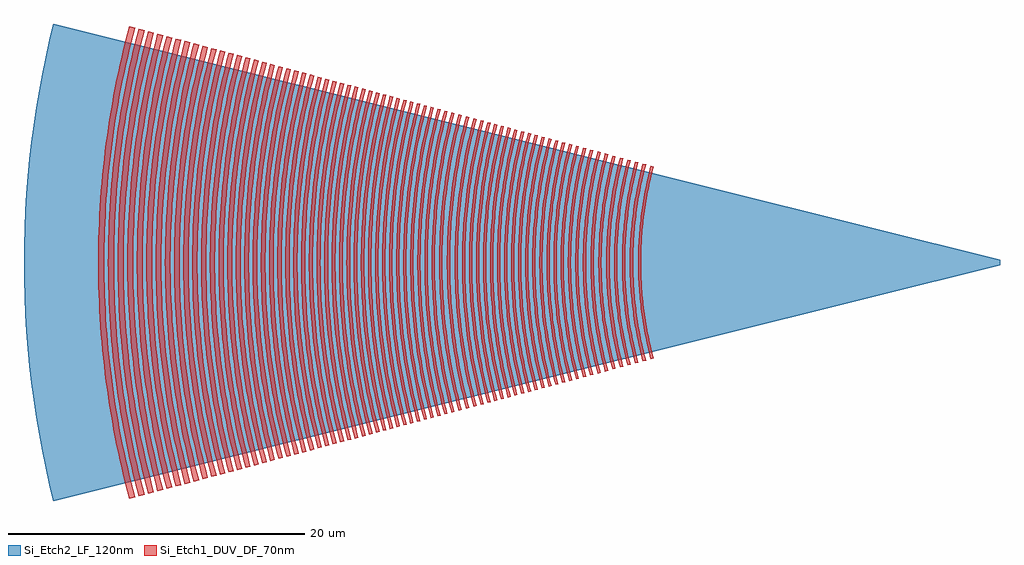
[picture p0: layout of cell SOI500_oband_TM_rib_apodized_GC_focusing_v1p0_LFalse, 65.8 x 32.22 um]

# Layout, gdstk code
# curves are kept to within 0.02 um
import gdstk
lib = gdstk.Library(unit=1e-6, precision=1e-09)
def P(c, l, *ps):  # polygons
    for p in ps: c.add(gdstk.Polygon(p, *l))
Si_Etch2_LF_120nm = (3, 0)
Si_Etch1_DUV_DF_70nm = (6, 0)

soi500_oband_tm_rib_apod = lib.new_cell('SOI500_oband_TM_rib_apodized_GC_focusing_v1p0_LFalse')
P(soi500_oband_tm_rib_apod, Si_Etch2_LF_120nm, [(-63.821,-16.112),(-64.344,-13.847),(-64.787,-11.565),(-64.979,-10.419),(-65.303,-8.117),(-65.546,-5.805),(-65.708,-3.486),(-65.789,-1.162),(-65.799,0),(-65.789,1.162),(-65.708,3.486),(-65.546,5.805),(-65.303,8.117),(-64.979,10.419),(-64.787,11.565),(-64.344,13.847),(-63.821,16.112),(0,0.2),(0,-0.2)])
P(soi500_oband_tm_rib_apod, Si_Etch1_DUV_DF_70nm, [(-23.539,-6.522),(-23.935,-4.808),(-24.211,-3.071),(-24.351,-1.538),(-24.398,0),(-24.351,1.538),(-24.211,3.071),(-23.935,4.808),(-23.539,6.522),(-23.346,6.47),(-23.739,4.77),(-23.984,3.263),(-24.137,1.744),(-24.198,0),(-24.137,-1.744),(-23.984,-3.263),(-23.739,-4.77),(-23.346,-6.47)],
  [(-24.083,-6.667),(-24.488,-4.916),(-24.741,-3.362),(-24.913,-1.573),(-24.961,0),(-24.913,1.573),(-24.741,3.362),(-24.488,4.916),(-24.083,6.667),(-23.859,6.608),(-24.26,4.872),(-24.511,3.332),(-24.667,1.781),(-24.729,0),(-24.667,-1.781),(-24.511,-3.332),(-24.26,-4.872),(-23.859,-6.608)],
  [(-24.587,-6.801),(-24.955,-5.241),(-25.257,-3.431),(-25.433,-1.605),(-25.482,0),(-25.433,1.605),(-25.257,3.431),(-24.955,5.241),(-24.587,6.801),(-24.385,6.749),(-24.75,5.199),(-25.05,3.403),(-25.224,1.592),(-25.273,0),(-25.224,-1.592),(-25.05,-3.403),(-24.75,-5.199),(-24.385,-6.749)],
  [(-25.101,-6.94),(-25.477,-5.347),(-25.785,-3.5),(-25.95,-1.871),(-26.015,0),(-25.95,1.871),(-25.785,3.5),(-25.477,5.347),(-25.101,6.94),(-24.908,6.889),(-25.281,5.307),(-25.587,3.474),(-25.75,1.857),(-25.815,0),(-25.75,-1.857),(-25.587,-3.474),(-25.281,-5.307),(-24.908,-6.889)],
  [(-25.618,-7.078),(-26.048,-5.219),(-26.316,-3.571),(-26.499,-1.67),(-26.55,0),(-26.499,1.67),(-26.316,3.571),(-26.048,5.219),(-25.618,7.078),(-25.393,7.019),(-25.773,5.407),(-26.085,3.54),(-26.251,1.892),(-26.317,0),(-26.251,-1.892),(-26.085,-3.54),(-25.773,-5.407),(-25.393,-7.019)],
  [(-26.12,-7.213),(-26.511,-5.557),(-26.831,-3.638),(-27.003,-1.944),(-27.07,0),(-27.003,1.944),(-26.831,3.638),(-26.511,5.557),(-26.12,7.213),(-25.924,7.161),(-26.312,5.516),(-26.63,3.612),(-26.8,1.93),(-26.867,0),(-26.8,-1.93),(-26.63,-3.612),(-26.312,-5.516),(-25.924,-7.161)],
  [(-26.631,-7.349),(-27.028,-5.662),(-27.355,-3.707),(-27.545,-1.734),(-27.598,0),(-27.545,1.734),(-27.355,3.707),(-27.028,5.662),(-26.631,7.349),(-26.426,7.296),(-26.868,5.379),(-27.145,3.679),(-27.317,1.966),(-27.386,0),(-27.317,-1.966),(-27.145,-3.679),(-26.868,-5.379),(-26.426,-7.296)],
  [(-27.135,-7.485),(-27.54,-5.766),(-27.872,-3.775),(-28.05,-2.018),(-28.12,0),(-28.05,2.018),(-27.872,3.775),(-27.54,5.766),(-27.135,7.485),(-26.928,7.43),(-27.379,5.478),(-27.66,3.747),(-27.836,2.003),(-27.906,0),(-27.836,-2.003),(-27.66,-3.747),(-27.379,-5.478),(-26.928,-7.43)],
  [(-27.625,-7.616),(-28.037,-5.868),(-28.376,-3.841),(-28.557,-2.053),(-28.628,0),(-28.557,2.053),(-28.376,3.841),(-28.037,5.868),(-27.625,7.616),(-27.432,7.565),(-27.891,5.577),(-28.178,3.815),(-28.357,2.039),(-28.428,0),(-28.357,-2.039),(-28.178,-3.815),(-27.891,-5.577),(-27.432,-7.565)],
  [(-28.107,-7.745),(-28.577,-5.711),(-28.871,-3.906),(-29.072,-1.827),(-29.127,0),(-29.072,1.827),(-28.871,3.906),(-28.577,5.711),(-28.107,7.745),(-27.91,7.693),(-28.377,5.672),(-28.669,3.88),(-28.868,1.815),(-28.923,0),(-28.868,-1.815),(-28.669,-3.88),(-28.377,-5.672),(-27.91,-7.693)],
  [(-28.58,-7.872),(-29.058,-5.804),(-29.356,-3.97),(-29.561,-1.858),(-29.617,0),(-29.561,1.858),(-29.356,3.97),(-29.058,5.804),(-28.58,7.872),(-28.387,7.821),(-28.862,5.766),(-29.158,3.944),(-29.361,1.845),(-29.417,0),(-29.361,-1.845),(-29.158,-3.944),(-28.862,-5.766),(-28.387,-7.821)],
  [(-29.045,-7.997),(-29.478,-6.161),(-29.833,-4.033),(-30.041,-1.886),(-30.098,0),(-30.041,1.886),(-29.833,4.033),(-29.478,6.161),(-29.045,7.997),(-28.852,7.946),(-29.282,6.121),(-29.635,4.007),(-29.841,1.874),(-29.898,0),(-29.841,-1.874),(-29.635,-4.007),(-29.282,-6.121),(-28.852,-7.946)],
  [(-29.5,-8.119),(-29.939,-6.254),(-30.139,-5.178),(-30.3,-4.095),(-30.511,-1.915),(-30.569,0),(-30.511,1.915),(-30.3,4.095),(-30.139,5.178),(-29.939,6.254),(-29.5,8.119),(-29.307,8.068),(-29.796,5.948),(-30.102,4.069),(-30.311,1.903),(-30.369,0),(-30.311,-1.903),(-30.102,-4.069),(-29.796,-5.948),(-29.307,-8.068)],
  [(-29.964,-8.243),(-30.41,-6.35),(-30.776,-4.157),(-30.972,-2.222),(-31.049,0),(-30.972,2.222),(-30.776,4.157),(-30.41,6.35),(-29.964,8.243),(-29.771,8.192),(-30.214,6.31),(-30.578,4.131),(-30.772,2.208),(-30.849,0),(-30.772,-2.208),(-30.578,-4.131),(-30.214,-6.31),(-29.771,-8.192)],
  [(-30.427,-8.368),(-30.88,-6.446),(-31.252,-4.221),(-31.451,-2.255),(-31.529,0),(-31.451,2.255),(-31.252,4.221),(-30.88,6.446),(-30.427,8.368),(-30.233,8.316),(-30.505,7.228),(-30.738,6.131),(-31.053,4.194),(-31.25,2.241),(-31.328,0),(-31.25,-2.241),(-31.053,-4.194),(-30.738,-6.131),(-30.505,-7.228),(-30.233,-8.316)],
  [(-30.89,-8.491),(-31.167,-7.381),(-31.405,-6.26),(-31.727,-4.282),(-31.929,-2.289),(-32.008,0),(-31.929,2.289),(-31.727,4.282),(-31.405,6.26),(-31.167,7.381),(-30.89,8.491),(-30.697,8.44),(-31.209,6.222),(-31.529,4.256),(-31.729,2.275),(-31.808,0),(-31.729,-2.275),(-31.529,-4.256),(-31.209,-6.222),(-30.697,-8.44)],
  [(-31.355,-8.615),(-31.821,-6.637),(-32.204,-4.345),(-32.336,-3.19),(-32.427,-2.033),(-32.489,0),(-32.427,2.033),(-32.336,3.19),(-32.204,4.345),(-31.821,6.637),(-31.355,8.615),(-31.16,8.564),(-31.623,6.597),(-32.004,4.319),(-32.135,3.171),(-32.225,2.02),(-32.287,0),(-32.225,-2.02),(-32.135,-3.171),(-32.004,-4.319),(-31.623,-6.597),(-31.16,-8.564)],
  [(-31.811,-8.738),(-32.284,-6.731),(-32.499,-5.572),(-32.673,-4.408),(-32.88,-2.355),(-32.942,-1.178),(-32.962,0),(-32.942,1.178),(-32.88,2.355),(-32.673,4.408),(-32.499,5.572),(-32.284,6.731),(-31.811,8.738),(-31.616,8.686),(-32.086,6.691),(-32.3,5.539),(-32.473,4.381),(-32.678,2.341),(-32.74,1.171),(-32.76,0),(-32.74,-1.171),(-32.678,-2.341),(-32.473,-4.381),(-32.3,-5.539),(-32.086,-6.691),(-31.616,-8.686)],
  [(-32.261,-8.858),(-32.741,-6.824),(-32.958,-5.649),(-33.135,-4.468),(-33.27,-3.281),(-33.365,-2.089),(-33.428,0),(-33.365,2.089),(-33.27,3.281),(-33.135,4.468),(-32.958,5.649),(-32.741,6.824),(-32.261,8.858),(-32.067,8.807),(-32.355,7.655),(-32.657,6.201),(-32.896,4.736),(-33.041,3.557),(-33.18,1.781),(-33.227,0),(-33.18,-1.781),(-33.041,-3.557),(-32.896,-4.736),(-32.657,-6.201),(-32.355,-7.655),(-32.067,-8.807)],
  [(-32.725,-8.983),(-33.211,-6.92),(-33.432,-5.729),(-33.611,-4.53),(-33.748,-3.327),(-33.844,-2.119),(-33.908,0),(-33.844,2.119),(-33.748,3.327),(-33.611,4.53),(-33.432,5.729),(-33.211,6.92),(-32.725,8.983),(-32.531,8.932),(-32.823,7.763),(-33.129,6.289),(-33.328,5.101),(-33.518,3.607),(-33.66,1.806),(-33.707,0),(-33.66,-1.806),(-33.518,-3.607),(-33.328,-5.101),(-33.129,-6.289),(-32.823,-7.763),(-32.531,-8.932)],
  [(-33.182,-9.105),(-33.675,-7.014),(-33.898,-5.806),(-34.08,-4.592),(-34.219,-3.373),(-34.316,-2.147),(-34.381,0),(-34.316,2.147),(-34.219,3.373),(-34.08,4.592),(-33.898,5.806),(-33.675,7.014),(-33.182,9.105),(-32.985,9.053),(-33.348,7.571),(-33.591,6.374),(-33.793,5.17),(-33.952,3.96),(-34.112,2.135),(-34.177,0),(-34.112,-2.135),(-33.952,-3.96),(-33.793,-5.17),(-33.591,-6.374),(-33.348,-7.571),(-32.985,-9.053)],
  [(-33.633,-9.226),(-33.934,-8.019),(-34.193,-6.802),(-34.543,-4.653),(-34.762,-2.487),(-34.826,-1.244),(-34.848,0),(-34.826,1.244),(-34.762,2.487),(-34.543,4.653),(-34.193,6.802),(-33.934,8.019),(-33.633,9.226),(-33.439,9.175),(-33.807,7.673),(-34.053,6.46),(-34.258,5.24),(-34.453,3.705),(-34.598,1.855),(-34.647,0),(-34.598,-1.855),(-34.453,-3.705),(-34.258,-5.24),(-34.053,-6.46),(-33.807,-7.673),(-33.439,-9.175)],
  [(-34.089,-9.349),(-34.595,-7.201),(-34.824,-5.962),(-35.011,-4.715),(-35.233,-2.52),(-35.298,-1.261),(-35.32,0),(-35.298,1.261),(-35.233,2.52),(-35.011,4.715),(-34.824,5.962),(-34.595,7.201),(-34.089,9.349),(-33.893,9.297),(-34.266,7.774),(-34.516,6.546),(-34.722,5.309),(-34.886,4.066),(-35.068,1.88),(-35.117,0),(-35.068,-1.88),(-34.886,-4.066),(-34.722,-5.309),(-34.516,-6.546),(-34.266,-7.774),(-33.893,-9.297)],
  [(-34.54,-9.469),(-35.053,-7.295),(-35.285,-6.039),(-35.474,-4.776),(-35.618,-3.507),(-35.719,-2.233),(-35.787,0),(-35.719,2.233),(-35.618,3.507),(-35.474,4.776),(-35.285,6.039),(-35.053,7.295),(-34.54,9.469),(-34.346,9.418),(-34.653,8.186),(-34.977,6.631),(-35.232,5.064),(-35.387,3.804),(-35.536,1.904),(-35.586,0),(-35.536,-1.904),(-35.387,-3.804),(-35.232,-5.064),(-34.977,-6.631),(-34.653,-8.186),(-34.346,-9.418)],
  [(-35.002,-9.593),(-35.521,-7.39),(-35.756,-6.118),(-35.948,-4.838),(-36.175,-2.586),(-36.243,-1.294),(-36.265,0),(-36.243,1.294),(-36.175,2.586),(-35.948,4.838),(-35.756,6.118),(-35.521,7.39),(-35.002,9.593),(-34.809,9.542),(-35.12,8.293),(-35.388,7.035),(-35.66,5.449),(-35.828,4.173),(-35.996,2.251),(-36.065,0),(-35.996,-2.251),(-35.828,-4.173),(-35.66,-5.449),(-35.388,-7.035),(-35.12,-8.293),(-34.809,-9.542)],
  [(-35.48,-9.721),(-36.006,-7.489),(-36.245,-6.199),(-36.438,-4.903),(-36.669,-2.62),(-36.737,-1.311),(-36.76,0),(-36.737,1.311),(-36.669,2.62),(-36.438,4.903),(-36.245,6.199),(-36.006,7.489),(-35.48,9.721),(-35.286,9.67),(-35.601,8.404),(-35.873,7.129),(-36.149,5.522),(-36.319,4.229),(-36.508,1.955),(-36.559,0),(-36.508,-1.955),(-36.319,-4.229),(-36.149,-5.522),(-35.873,-7.129),(-35.601,-8.404),(-35.286,-9.67)],
  [(-35.988,-9.857),(-36.522,-7.593),(-36.764,-6.287),(-36.96,-4.972),(-37.111,-3.65),(-37.215,-2.325),(-37.286,0),(-37.215,2.325),(-37.111,3.65),(-36.96,4.972),(-36.764,6.287),(-36.522,7.593),(-35.988,9.857),(-35.784,9.803),(-36.177,8.198),(-36.441,6.903),(-36.659,5.599),(-36.832,4.288),(-37.023,1.982),(-37.075,0),(-37.023,-1.982),(-36.832,-4.288),(-36.659,-5.599),(-36.441,-6.903),(-36.177,-8.198),(-35.784,-9.803)],
  [(-36.491,-9.992),(-37.032,-7.697),(-37.277,-6.372),(-37.476,-5.04),(-37.713,-2.693),(-37.784,-1.347),(-37.807,0),(-37.784,1.347),(-37.713,2.693),(-37.476,5.04),(-37.277,6.372),(-37.032,7.697),(-36.491,9.992),(-36.292,9.939),(-36.617,8.639),(-36.958,6.998),(-37.179,5.676),(-37.391,4.014),(-37.548,2.01),(-37.601,0),(-37.548,-2.01),(-37.391,-4.014),(-37.179,-5.676),(-36.958,-6.998),(-36.617,-8.639),(-36.292,-9.939)],
  [(-36.976,-10.122),(-37.524,-7.797),(-37.772,-6.456),(-37.974,-5.106),(-38.214,-2.728),(-38.285,-1.365),(-38.309,0),(-38.285,1.365),(-38.214,2.728),(-37.974,5.106),(-37.772,6.456),(-37.524,7.797),(-36.976,10.122),(-36.78,10.07),(-37.109,8.752),(-37.391,7.424),(-37.679,5.751),(-37.856,4.405),(-38.053,2.036),(-38.106,0),(-38.053,-2.036),(-37.856,-4.405),(-37.679,-5.751),(-37.391,-7.424),(-37.109,-8.752),(-36.78,-10.07)],
  [(-37.446,-10.247),(-38,-7.894),(-38.252,-6.535),(-38.456,-5.168),(-38.613,-3.795),(-38.722,-2.417),(-38.795,0),(-38.722,2.417),(-38.613,3.795),(-38.456,5.168),(-38.252,6.535),(-38,7.894),(-37.446,10.247),(-37.251,10.196),(-37.583,8.862),(-37.869,7.517),(-38.108,6.163),(-38.34,4.46),(-38.52,2.405),(-38.593,0),(-38.52,-2.405),(-38.34,-4.46),(-38.108,-6.163),(-37.869,-7.517),(-37.583,-8.862),(-37.251,-10.196)],
  [(-37.908,-10.372),(-38.469,-7.99),(-38.724,-6.614),(-38.931,-5.231),(-39.089,-3.841),(-39.2,-2.446),(-39.274,0),(-39.2,2.446),(-39.089,3.841),(-38.931,5.231),(-38.724,6.614),(-38.469,7.99),(-37.908,10.372),(-37.715,10.321),(-38.129,8.631),(-38.406,7.267),(-38.636,5.894),(-38.818,4.514),(-39,2.434),(-39.074,0),(-39,-2.434),(-38.818,-4.514),(-38.636,-5.894),(-38.406,-7.267),(-38.129,-8.631),(-37.715,-10.321)],
  [(-38.368,-10.495),(-38.936,-8.085),(-39.194,-6.693),(-39.403,-5.293),(-39.652,-2.829),(-39.725,-1.415),(-39.75,0),(-39.725,1.415),(-39.652,2.829),(-39.403,5.293),(-39.194,6.693),(-38.936,8.085),(-38.368,10.495),(-38.175,10.444),(-38.516,9.077),(-38.809,7.7),(-39.107,5.964),(-39.291,4.568),(-39.495,2.112),(-39.55,0),(-39.495,-2.112),(-39.291,-4.568),(-39.107,-5.964),(-38.809,-7.7),(-38.516,-9.077),(-38.175,-10.444)],
  [(-38.825,-10.617),(-39.172,-9.229),(-39.469,-7.828),(-39.872,-5.355),(-40.124,-2.862),(-40.198,-1.432),(-40.223,0),(-40.198,1.432),(-40.124,2.862),(-39.872,5.355),(-39.469,7.828),(-39.172,9.229),(-38.825,10.617),(-38.632,10.566),(-38.977,9.184),(-39.273,7.79),(-39.575,6.034),(-39.761,4.622),(-39.947,2.492),(-40.023,0),(-39.947,-2.492),(-39.761,-4.622),(-39.575,-6.034),(-39.273,-7.79),(-38.977,-9.184),(-38.632,-10.566)],
  [(-39.284,-10.74),(-39.865,-8.273),(-40.129,-6.849),(-40.343,-5.416),(-40.507,-3.977),(-40.621,-2.533),(-40.698,0),(-40.621,2.533),(-40.507,3.977),(-40.343,5.416),(-40.129,6.849),(-39.865,8.273),(-39.284,10.74),(-39.089,10.689),(-39.438,9.29),(-39.737,7.88),(-39.988,6.46),(-40.231,4.675),(-40.419,2.521),(-40.496,0),(-40.419,-2.521),(-40.231,-4.675),(-39.988,-6.46),(-39.737,-7.88),(-39.438,-9.29),(-39.089,-10.689)],
  [(-39.744,-10.863),(-40.098,-9.442),(-40.403,-8.01),(-40.815,-5.479),(-40.981,-4.023),(-41.096,-2.563),(-41.174,0),(-41.096,2.563),(-40.981,4.023),(-40.815,5.479),(-40.403,8.01),(-40.098,9.442),(-39.744,10.863),(-39.545,10.811),(-39.978,9.041),(-40.269,7.612),(-40.509,6.174),(-40.699,4.728),(-40.911,2.186),(-40.968,0),(-40.911,-2.186),(-40.699,-4.728),(-40.509,-6.174),(-40.269,-7.612),(-39.978,-9.041),(-39.545,-10.811)],
  [(-40.205,-10.987),(-40.799,-8.464),(-41.069,-7.007),(-41.288,-5.542),(-41.456,-4.069),(-41.572,-2.592),(-41.651,0),(-41.572,2.592),(-41.456,4.069),(-41.288,5.542),(-41.069,7.007),(-40.799,8.464),(-40.205,10.987),(-40,10.933),(-40.438,9.143),(-40.732,7.698),(-40.975,6.244),(-41.167,4.782),(-41.381,2.211),(-41.439,0),(-41.381,-2.211),(-41.167,-4.782),(-40.975,-6.244),(-40.732,-7.698),(-40.438,-9.143),(-40,-10.933)],
  [(-40.664,-11.109),(-41.265,-8.558),(-41.537,-7.085),(-41.759,-5.604),(-41.928,-4.115),(-42.046,-2.62),(-42.126,0),(-42.046,2.62),(-41.928,4.115),(-41.759,5.604),(-41.537,7.085),(-41.265,8.558),(-40.664,11.109),(-40.454,11.054),(-40.897,9.244),(-41.194,7.783),(-41.44,6.313),(-41.634,4.835),(-41.829,2.607),(-41.909,0),(-41.829,-2.607),(-41.634,-4.835),(-41.44,-6.313),(-41.194,-7.783),(-40.897,-9.244),(-40.454,-11.054)],
  [(-41.125,-11.233),(-41.49,-9.764),(-41.806,-8.283),(-42.232,-5.665),(-42.403,-4.161),(-42.522,-2.65),(-42.577,-1.515),(-42.603,0),(-42.577,1.515),(-42.522,2.65),(-42.403,4.161),(-42.232,5.665),(-41.806,8.283),(-41.49,9.764),(-41.125,11.233),(-40.909,11.176),(-41.273,9.714),(-41.587,8.24),(-41.906,6.383),(-42.102,4.888),(-42.216,3.764),(-42.321,2.26),(-42.38,0),(-42.321,-2.26),(-42.216,-3.764),(-42.102,-4.888),(-41.906,-6.383),(-41.587,-8.24),(-41.273,-9.714),(-40.909,-11.176)],
  [(-41.588,-11.357),(-41.959,-9.872),(-42.278,-8.374),(-42.709,-5.728),(-42.882,-4.206),(-43.003,-2.679),(-43.084,0),(-43.003,2.679),(-42.882,4.206),(-42.709,5.728),(-42.278,8.374),(-41.959,9.872),(-41.588,11.357),(-41.367,11.299),(-41.736,9.821),(-42.053,8.33),(-42.318,6.829),(-42.574,4.942),(-42.774,2.665),(-42.855,0),(-42.774,-2.665),(-42.574,-4.942),(-42.318,-6.829),(-42.053,-8.33),(-41.736,-9.821),(-41.367,-11.299)],
  [(-42.057,-11.483),(-42.432,-9.982),(-42.754,-8.466),(-42.961,-7.324),(-43.189,-5.792),(-43.365,-4.252),(-43.487,-2.71),(-43.554,-1.161),(-43.569,0),(-43.554,1.161),(-43.487,2.71),(-43.365,4.252),(-43.189,5.792),(-42.961,7.324),(-42.754,8.466),(-42.432,9.982),(-42.057,11.483),(-41.832,11.424),(-42.205,9.929),(-42.597,8.044),(-42.851,6.524),(-43.052,4.997),(-43.168,3.847),(-43.276,2.31),(-43.336,0),(-43.276,-2.31),(-43.168,-3.847),(-43.052,-4.997),(-42.851,-6.524),(-42.597,-8.044),(-42.205,-9.929),(-41.832,-11.424)],
  [(-42.531,-11.61),(-42.909,-10.092),(-43.235,-8.56),(-43.444,-7.405),(-43.675,-5.855),(-43.853,-4.3),(-43.976,-2.739),(-44.044,-1.174),(-44.059,0),(-44.044,1.174),(-43.976,2.739),(-43.853,4.3),(-43.675,5.855),(-43.444,7.405),(-43.235,8.56),(-42.909,10.092),(-42.531,11.61),(-42.3,11.549),(-42.762,9.658),(-43.073,8.132),(-43.386,6.21),(-43.576,4.664),(-43.759,2.335),(-43.82,0),(-43.759,-2.335),(-43.576,-4.664),(-43.386,-6.21),(-43.073,-8.132),(-42.762,-9.658),(-42.3,-11.549)],
  [(-43.008,-11.738),(-43.391,-10.203),(-43.642,-9.043),(-43.931,-7.485),(-44.165,-5.92),(-44.344,-4.347),(-44.469,-2.769),(-44.526,-1.583),(-44.553,0),(-44.526,1.583),(-44.469,2.769),(-44.344,4.347),(-44.165,5.92),(-43.931,7.485),(-43.642,9.043),(-43.391,10.203),(-43.008,11.738),(-42.772,11.676),(-43.24,9.764),(-43.554,8.221),(-43.813,6.668),(-44.019,5.107),(-44.225,2.754),(-44.294,1.181),(-44.309,0),(-44.294,-1.181),(-44.225,-2.754),(-44.019,-5.107),(-43.813,-6.668),(-43.554,-8.221),(-43.24,-9.764),(-42.772,-11.676)],
  [(-43.491,-11.867),(-43.878,-10.315),(-44.21,-8.75),(-44.425,-7.568),(-44.661,-5.986),(-44.842,-4.395),(-44.968,-2.799),(-45.025,-1.6),(-45.053,0),(-45.025,1.6),(-44.968,2.799),(-44.842,4.395),(-44.661,5.986),(-44.425,7.568),(-44.21,8.75),(-43.878,10.315),(-43.491,11.867),(-43.249,11.803),(-43.634,10.259),(-43.965,8.702),(-44.242,7.134),(-44.51,5.163),(-44.718,2.784),(-44.775,1.592),(-44.803,0),(-44.775,-1.592),(-44.718,-2.784),(-44.51,-5.163),(-44.242,-7.134),(-43.965,-8.702),(-43.634,-10.259),(-43.249,-11.803)],
  [(-43.98,-11.998),(-44.37,-10.429),(-44.707,-8.846),(-44.924,-7.652),(-45.163,-6.051),(-45.346,-4.444),(-45.473,-2.831),(-45.531,-1.618),(-45.559,0),(-45.531,1.618),(-45.473,2.831),(-45.346,4.444),(-45.163,6.051),(-44.924,7.652),(-44.707,8.846),(-44.37,10.429),(-43.98,11.998),(-43.732,11.933),(-44.121,10.371),(-44.456,8.797),(-44.797,6.815),(-45.007,5.219),(-45.128,4.018),(-45.24,2.413),(-45.303,0),(-45.24,-2.413),(-45.128,-4.018),(-45.007,-5.219),(-44.797,-6.815),(-44.456,-8.797),(-44.121,-10.371),(-43.732,-11.933)],
  [(-44.475,-12.13),(-44.87,-10.544),(-45.211,-8.944),(-45.495,-7.333),(-45.671,-6.118),(-45.856,-4.493),(-45.985,-2.862),(-46.044,-1.636),(-46.072,0),(-46.044,1.636),(-45.985,2.862),(-45.856,4.493),(-45.671,6.118),(-45.495,7.333),(-45.211,8.944),(-44.87,10.544),(-44.475,12.13),(-44.222,12.064),(-44.705,10.089),(-45.029,8.494),(-45.298,6.89),(-45.555,4.872),(-45.746,2.439),(-45.81,0),(-45.746,-2.439),(-45.555,-4.872),(-45.298,-6.89),(-45.029,-8.494),(-44.705,-10.089),(-44.222,-12.064)],
  [(-44.976,-12.265),(-45.282,-11.064),(-45.64,-9.448),(-45.941,-7.822),(-46.186,-6.186),(-46.373,-4.543),(-46.503,-2.893),(-46.575,-1.241),(-46.591,0),(-46.575,1.241),(-46.503,2.893),(-46.373,4.543),(-46.186,6.186),(-45.941,7.822),(-45.64,9.448),(-45.282,11.064),(-44.976,12.265),(-44.717,12.197),(-45.206,10.2),(-45.534,8.588),(-45.805,6.966),(-46.065,4.926),(-46.258,2.466),(-46.323,0),(-46.258,-2.466),(-46.065,-4.926),(-45.805,-6.966),(-45.534,-8.588),(-45.206,-10.2),(-44.717,-12.197)],
  [(-45.484,-12.4),(-45.888,-10.78),(-46.236,-9.143),(-46.459,-7.909),(-46.706,-6.255),(-46.896,-4.592),(-46.999,-3.342),(-47.087,-1.673),(-47.116,0),(-47.087,1.673),(-46.999,3.342),(-46.896,4.592),(-46.706,6.255),(-46.459,7.909),(-46.236,9.143),(-45.888,10.78),(-45.484,12.4),(-45.219,12.331),(-45.621,10.718),(-45.967,9.091),(-46.319,7.042),(-46.536,5.393),(-46.661,4.152),(-46.777,2.493),(-46.842,0),(-46.777,-2.493),(-46.661,-4.152),(-46.536,-5.393),(-46.319,-7.042),(-45.967,-9.091),(-45.621,-10.718),(-45.219,-12.331)],
  [(-45.997,-12.538),(-46.405,-10.899),(-46.757,-9.244),(-47.051,-7.579),(-47.233,-6.324),(-47.424,-4.644),(-47.529,-3.379),(-47.618,-1.691),(-47.647,0),(-47.618,1.691),(-47.529,3.379),(-47.424,4.644),(-47.233,6.324),(-47.051,7.579),(-46.757,9.244),(-46.405,10.899),(-45.997,12.538),(-45.726,12.467),(-46.225,10.426),(-46.56,8.778),(-46.838,7.12),(-47.103,5.035),(-47.301,2.521),(-47.367,0),(-47.301,-2.521),(-47.103,-5.035),(-46.838,-7.12),(-46.56,-8.778),(-46.225,-10.426),(-45.726,-12.467)],
  [(-46.515,-12.677),(-46.928,-11.019),(-47.283,-9.347),(-47.511,-8.085),(-47.764,-6.394),(-47.958,-4.695),(-48.091,-2.99),(-48.153,-1.71),(-48.183,0),(-48.153,1.71),(-48.091,2.99),(-47.958,4.695),(-47.764,6.394),(-47.511,8.085),(-47.283,9.347),(-46.928,11.019),(-46.515,12.677),(-46.239,12.604),(-46.744,10.541),(-47.083,8.875),(-47.363,7.198),(-47.585,5.513),(-47.807,2.973),(-47.868,1.7),(-47.898,0),(-47.868,-1.7),(-47.807,-2.973),(-47.585,-5.513),(-47.363,-7.198),(-47.083,-8.875),(-46.744,-10.541),(-46.239,-12.604)],
  [(-47.037,-12.818),(-47.357,-11.562),(-47.731,-9.874),(-48.046,-8.174),(-48.302,-6.465),(-48.497,-4.747),(-48.604,-3.455),(-48.695,-1.728),(-48.725,0),(-48.695,1.728),(-48.604,3.455),(-48.497,4.747),(-48.302,6.465),(-48.046,8.174),(-47.731,9.874),(-47.357,11.562),(-47.037,12.818),(-46.756,12.743),(-47.267,10.657),(-47.61,8.973),(-47.893,7.278),(-48.118,5.574),(-48.247,4.291),(-48.367,2.577),(-48.434,0),(-48.367,-2.577),(-48.247,-4.291),(-48.118,-5.574),(-47.893,-7.278),(-47.61,-8.973),(-47.267,-10.657),(-46.756,-12.743)],
  [(-47.567,-12.958),(-47.89,-11.689),(-48.268,-9.983),(-48.586,-8.265),(-48.844,-6.536),(-49.043,-4.8),(-49.151,-3.493),(-49.243,-1.747),(-49.273,0),(-49.243,1.747),(-49.151,3.493),(-49.043,4.8),(-48.844,6.536),(-48.586,8.265),(-48.268,9.983),(-47.89,11.689),(-47.567,12.958),(-47.28,12.883),(-47.601,11.62),(-47.977,9.924),(-48.293,8.216),(-48.55,6.497),(-48.747,4.771),(-48.855,3.472),(-48.946,1.737),(-48.976,0),(-48.946,-1.737),(-48.855,-3.472),(-48.747,-4.771),(-48.55,-6.497),(-48.293,-8.216),(-47.977,-9.924),(-47.601,-11.62),(-47.28,-12.883)],
  [(-48.101,-13.102),(-48.428,-11.819),(-48.81,-10.093),(-49.132,-8.356),(-49.392,-6.609),(-49.593,-4.852),(-49.731,-3.091),(-49.809,-1.325),(-49.826,0),(-49.809,1.325),(-49.731,3.091),(-49.593,4.852),(-49.392,6.609),(-49.132,8.356),(-48.81,10.093),(-48.428,11.819),(-48.101,13.102),(-47.808,13.025),(-48.133,11.748),(-48.513,10.033),(-48.833,8.306),(-49.092,6.569),(-49.291,4.823),(-49.429,3.072),(-49.506,1.317),(-49.523,0),(-49.506,-1.317),(-49.429,-3.072),(-49.291,-4.823),(-49.092,-6.569),(-48.833,-8.306),(-48.513,-10.033),(-48.133,-11.748),(-47.808,-13.025)],
  [(-48.64,-13.246),(-48.97,-11.949),(-49.357,-10.204),(-49.682,-8.448),(-49.946,-6.681),(-50.149,-4.905),(-50.259,-3.571),(-50.353,-1.787),(-50.384,0),(-50.353,1.787),(-50.259,3.571),(-50.149,4.905),(-49.946,6.681),(-49.682,8.448),(-49.357,10.204),(-48.97,11.949),(-48.64,13.246),(-48.342,13.168),(-48.772,11.445),(-49.055,10.143),(-49.378,8.397),(-49.641,6.641),(-49.842,4.876),(-49.952,3.549),(-50.045,1.776),(-50.076,0),(-50.045,-1.776),(-49.952,-3.549),(-49.842,-4.876),(-49.641,-6.641),(-49.378,-8.397),(-49.055,-10.143),(-48.772,-11.445),(-48.342,-13.168)],
  [(-49.185,-13.393),(-49.622,-11.642),(-49.909,-10.318),(-50.239,-8.541),(-50.505,-6.755),(-50.71,-4.96),(-50.822,-3.61),(-50.917,-1.806),(-50.948,0),(-50.917,1.806),(-50.822,3.61),(-50.71,4.96),(-50.505,6.755),(-50.239,8.541),(-49.909,10.318),(-49.622,11.642),(-49.185,13.393),(-48.881,13.313),(-49.316,11.571),(-49.689,9.814),(-49.929,8.489),(-50.194,6.714),(-50.352,5.377),(-50.509,3.588),(-50.603,1.795),(-50.634,0),(-50.603,-1.795),(-50.509,-3.588),(-50.352,-5.377),(-50.194,-6.714),(-49.929,-8.489),(-49.689,-9.814),(-49.316,-11.571),(-48.881,-13.313)],
  [(-49.735,-13.541),(-50.177,-11.769),(-50.468,-10.431),(-50.801,-8.635),(-51.07,-6.829),(-51.278,-5.015),(-51.42,-3.195),(-51.486,-1.826),(-51.518,0),(-51.486,1.826),(-51.42,3.195),(-51.278,5.015),(-51.07,6.829),(-50.801,8.635),(-50.468,10.431),(-50.177,11.769),(-49.735,13.541),(-49.426,13.459),(-49.865,11.697),(-50.243,9.922),(-50.558,8.135),(-50.753,6.787),(-50.959,4.984),(-51.101,3.175),(-51.18,1.361),(-51.198,0),(-51.18,-1.361),(-51.101,-3.175),(-50.959,-4.984),(-50.753,-6.787),(-50.558,-8.135),(-50.243,-9.922),(-49.865,-11.697),(-49.426,-13.459)],
  [(-50.292,-13.689),(-50.739,-11.9),(-51.032,-10.546),(-51.369,-8.731),(-51.641,-6.905),(-51.804,-5.529),(-51.965,-3.69),(-52.062,-1.846),(-52.094,0),(-52.062,1.846),(-51.965,3.69),(-51.804,5.529),(-51.641,6.905),(-51.369,8.731),(-51.032,10.546),(-50.739,11.9),(-50.292,13.689),(-49.977,13.606),(-50.421,11.826),(-50.713,10.481),(-51.047,8.677),(-51.318,6.862),(-51.526,5.039),(-51.64,3.667),(-51.736,1.835),(-51.768,0),(-51.736,-1.835),(-51.64,-3.667),(-51.526,-5.039),(-51.318,-6.862),(-51.047,-8.677),(-50.713,-10.481),(-50.421,-11.826),(-49.977,-13.606)],
  [(-50.854,-13.84),(-51.306,-12.029),(-51.694,-10.204),(-52.018,-8.366),(-52.218,-6.98),(-52.383,-5.59),(-52.546,-3.73),(-52.644,-1.867),(-52.676,0),(-52.644,1.867),(-52.546,3.73),(-52.383,5.59),(-52.218,6.98),(-52.018,8.366),(-51.694,10.204),(-51.306,12.029),(-50.854,13.84),(-50.533,13.755),(-50.982,11.955),(-51.368,10.141),(-51.69,8.314),(-51.889,6.937),(-52.053,5.555),(-52.215,3.707),(-52.312,1.855),(-52.344,0),(-52.312,-1.855),(-52.215,-3.707),(-52.053,-5.555),(-51.889,-6.937),(-51.69,-8.314),(-51.368,-10.141),(-50.982,-11.955),(-50.533,-13.755)],
  [(-51.422,-13.992),(-51.878,-12.162),(-52.271,-10.316),(-52.599,-8.458),(-52.801,-7.057),(-53.015,-5.182),(-53.163,-3.301),(-53.246,-1.415),(-53.264,0),(-53.246,1.415),(-53.163,3.301),(-53.015,5.182),(-52.801,7.057),(-52.599,8.458),(-52.271,10.316),(-51.878,12.162),(-51.422,13.992),(-51.095,13.906),(-51.549,12.086),(-51.939,10.252),(-52.265,8.405),(-52.466,7.013),(-52.679,5.15),(-52.826,3.28),(-52.908,1.406),(-52.926,0),(-52.908,-1.406),(-52.826,-3.28),(-52.679,-5.15),(-52.466,-7.013),(-52.265,-8.405),(-51.939,-10.252),(-51.549,-12.086),(-51.095,-13.906)],
  [(-51.996,-14.146),(-52.348,-12.76),(-52.761,-10.898),(-53.108,-9.022),(-53.39,-7.135),(-53.606,-5.239),(-53.725,-3.813),(-53.825,-1.908),(-53.858,0),(-53.825,1.908),(-53.725,3.813),(-53.606,5.239),(-53.39,7.135),(-53.108,9.022),(-52.761,10.898),(-52.348,12.76),(-51.996,14.146),(-51.663,14.058),(-52.122,12.218),(-52.424,10.829),(-52.769,8.965),(-53.049,7.09),(-53.264,5.206),(-53.382,3.789),(-53.481,1.896),(-53.514,0),(-53.481,-1.896),(-53.382,-3.789),(-53.264,-5.206),(-53.049,-7.09),(-52.769,-8.965),(-52.424,-10.829),(-52.122,-12.218),(-51.663,-14.058)],
  [(-52.575,-14.301),(-53.042,-12.431),(-53.349,-11.017),(-53.7,-9.121),(-53.985,-7.213),(-54.203,-5.297),(-54.355,-3.374),(-54.425,-1.928),(-54.458,0),(-54.425,1.928),(-54.355,3.374),(-54.203,5.297),(-53.985,7.213),(-53.7,9.121),(-53.349,11.017),(-53.042,12.431),(-52.575,14.301),(-52.237,14.212),(-52.701,12.352),(-53.006,10.947),(-53.355,9.063),(-53.638,7.167),(-53.855,5.263),(-54.006,3.352),(-54.075,1.916),(-54.108,0),(-54.075,-1.916),(-54.006,-3.352),(-53.855,-5.263),(-53.638,-7.167),(-53.355,-9.063),(-53.006,-10.947),(-52.701,-12.352),(-52.237,-14.212)],
  [(-53.161,-14.457),(-53.632,-12.567),(-53.943,-11.138),(-54.298,-9.221),(-54.586,-7.292),(-54.758,-5.839),(-54.928,-3.897),(-55.03,-1.949),(-55.064,0),(-55.03,1.949),(-54.928,3.897),(-54.758,5.839),(-54.586,7.292),(-54.298,9.221),(-53.943,11.138),(-53.632,12.567),(-53.161,14.457),(-52.817,14.367),(-53.174,12.959),(-53.594,11.067),(-53.947,9.162),(-54.233,7.246),(-54.404,5.802),(-54.573,3.872),(-54.674,1.937),(-54.708,0),(-54.674,-1.937),(-54.573,-3.872),(-54.404,-5.802),(-54.233,-7.246),(-53.947,-9.162),(-53.594,-11.067),(-53.174,-12.959),(-52.817,-14.367)],
  [(-53.752,-14.616),(-54.116,-13.185),(-54.542,-11.26),(-54.901,-9.322),(-55.193,-7.372),(-55.367,-5.904),(-55.538,-3.939),(-55.642,-1.971),(-55.676,0),(-55.642,1.971),(-55.538,3.939),(-55.367,5.904),(-55.193,7.372),(-54.901,9.322),(-54.542,11.26),(-54.116,13.185),(-53.752,14.616),(-53.402,14.524),(-53.876,12.623),(-54.283,10.707),(-54.623,8.778),(-54.834,7.325),(-55.056,5.378),(-55.209,3.426),(-55.295,1.469),(-55.314,0),(-55.295,-1.469),(-55.209,-3.426),(-55.056,-5.378),(-54.834,-7.325),(-54.623,-8.778),(-54.283,-10.707),(-53.876,-12.623),(-53.402,-14.524)],
  [(-54.349,-14.776),(-54.717,-13.329),(-55.148,-11.384),(-55.511,-9.424),(-55.806,-7.452),(-55.981,-5.969),(-56.155,-3.983),(-56.259,-1.993),(-56.294,0),(-56.259,1.993),(-56.155,3.983),(-55.981,5.969),(-55.806,7.452),(-55.511,9.424),(-55.148,11.384),(-54.717,13.329),(-54.349,14.776),(-53.993,14.682),(-54.472,12.761),(-54.884,10.824),(-55.228,8.874),(-55.441,7.404),(-55.665,5.437),(-55.788,3.957),(-55.891,1.98),(-55.926,0),(-55.891,-1.98),(-55.788,-3.957),(-55.665,-5.437),(-55.441,-7.404),(-55.228,-8.874),(-54.884,-10.824),(-54.472,-12.761),(-53.993,-14.682)],
  [(-54.953,-14.937),(-55.325,-13.474),(-55.761,-11.508),(-56.128,-9.527),(-56.425,-7.534),(-56.653,-5.532),(-56.811,-3.524),(-56.884,-2.014),(-56.919,0),(-56.884,2.014),(-56.811,3.524),(-56.653,5.532),(-56.425,7.534),(-56.128,9.527),(-55.761,11.508),(-55.325,13.474),(-54.953,14.937),(-54.59,14.842),(-54.96,13.387),(-55.393,11.433),(-55.758,9.465),(-56.053,7.485),(-56.28,5.496),(-56.437,3.501),(-56.509,2.001),(-56.544,0),(-56.509,-2.001),(-56.437,-3.501),(-56.28,-5.496),(-56.053,-7.485),(-55.758,-9.465),(-55.393,-11.433),(-54.96,-13.387),(-54.59,-14.842)],
  [(-55.563,-15.1),(-56.054,-13.127),(-56.478,-11.134),(-56.75,-9.631),(-57.051,-7.617),(-57.23,-6.1),(-57.408,-4.071),(-57.515,-2.036),(-57.55,0),(-57.515,2.036),(-57.408,4.071),(-57.23,6.1),(-57.051,7.617),(-56.75,9.631),(-56.478,11.134),(-56.054,13.127),(-55.563,15.1),(-55.194,15.004),(-55.683,13.041),(-56.104,11.061),(-56.374,9.568),(-56.673,7.567),(-56.902,5.556),(-57.028,4.044),(-57.134,2.023),(-57.169,0),(-57.134,-2.023),(-57.028,-4.044),(-56.902,-5.556),(-56.673,-7.567),(-56.374,-9.568),(-56.104,-11.061),(-55.683,-13.041),(-55.194,-15.004)],
  [(-56.177,-15.265),(-56.675,-13.27),(-57.003,-11.76),(-57.378,-9.736),(-57.683,-7.699),(-57.915,-5.654),(-58.077,-3.602),(-58.167,-1.544),(-58.187,0),(-58.167,1.544),(-58.077,3.602),(-57.915,5.654),(-57.683,7.699),(-57.378,9.736),(-57.003,11.76),(-56.675,13.27),(-56.177,15.265),(-55.803,15.167),(-56.181,13.68),(-56.624,11.683),(-56.996,9.672),(-57.299,7.649),(-57.53,5.617),(-57.691,3.578),(-57.78,1.534),(-57.8,0),(-57.78,-1.534),(-57.691,-3.578),(-57.53,-5.617),(-57.299,-7.649),(-56.996,-9.672),(-56.624,-11.683),(-56.181,-13.68),(-55.803,-15.167)],
  [(-56.799,-15.433),(-57.303,-13.415),(-57.736,-11.378),(-58.014,-9.842),(-58.321,-7.783),(-58.504,-6.233),(-58.686,-4.16),(-58.795,-2.081),(-58.831,0),(-58.795,2.081),(-58.686,4.16),(-58.504,6.233),(-58.321,7.783),(-58.014,9.842),(-57.736,11.378),(-57.303,13.415),(-56.799,15.433),(-56.418,15.332),(-56.919,13.326),(-57.349,11.303),(-57.708,9.267),(-57.93,7.732),(-58.164,5.678),(-58.327,3.616),(-58.417,1.551),(-58.437,0),(-58.417,-1.551),(-58.327,-3.616),(-58.164,-5.678),(-57.93,-7.732),(-57.708,-9.267),(-57.349,-11.303),(-56.919,-13.326),(-56.418,-15.332)],
  [(-57.428,-15.601),(-57.936,-13.561),(-58.374,-11.502),(-58.739,-9.43),(-58.966,-7.868),(-59.151,-6.301),(-59.334,-4.205),(-59.445,-2.104),(-59.481,0),(-59.445,2.104),(-59.334,4.205),(-59.151,6.301),(-58.966,7.868),(-58.739,9.43),(-58.374,11.502),(-57.936,13.561),(-57.428,15.601),(-57.041,15.499),(-57.546,13.471),(-57.879,11.939),(-58.26,9.884),(-58.569,7.816),(-58.753,6.259),(-58.935,4.177),(-59.045,2.09),(-59.081,0),(-59.045,-2.09),(-58.935,-4.177),(-58.753,-6.259),(-58.569,-7.816),(-58.26,-9.884),(-57.879,-11.939),(-57.546,-13.471),(-57.041,-15.499)],
  [(-58.061,-15.771),(-58.576,-13.708),(-59.018,-11.627),(-59.387,-9.532),(-59.616,-7.954),(-59.803,-6.369),(-59.989,-4.251),(-60.1,-2.127),(-60.137,0),(-60.1,2.127),(-59.989,4.251),(-59.803,6.369),(-59.616,7.954),(-59.387,9.532),(-59.018,11.627),(-58.576,13.708),(-58.061,15.771),(-57.668,15.667),(-58.18,13.617),(-58.516,12.068),(-58.901,9.991),(-59.213,7.901),(-59.452,5.802),(-59.584,4.223),(-59.694,2.113),(-59.731,0),(-59.694,-2.113),(-59.584,-4.223),(-59.452,-5.802),(-59.213,-7.901),(-58.901,-9.991),(-58.516,-12.068),(-58.18,-13.617),(-57.668,-15.667)],
  [(-58.7,-15.942),(-59.097,-14.38),(-59.563,-12.281),(-59.954,-10.167),(-60.273,-8.041),(-60.462,-6.439),(-60.649,-4.297),(-60.762,-2.149),(-60.799,0),(-60.762,2.149),(-60.649,4.297),(-60.462,6.439),(-60.273,8.041),(-59.954,10.167),(-59.563,12.281),(-59.097,14.38),(-58.7,15.942),(-58.302,15.837),(-58.819,13.765),(-59.159,12.199),(-59.548,10.099),(-59.864,7.987),(-60.105,5.865),(-60.273,3.735),(-60.35,2.135),(-60.387,0),(-60.35,-2.135),(-60.273,-3.735),(-60.105,-5.865),(-59.864,-7.987),(-59.548,-10.099),(-59.159,-12.199),(-58.819,-13.765),(-58.302,-15.837)])

lib.write_gds('SOI500_oband_TM_rib_apodized_GC_focusing_v1p0_LFalse.gds')
